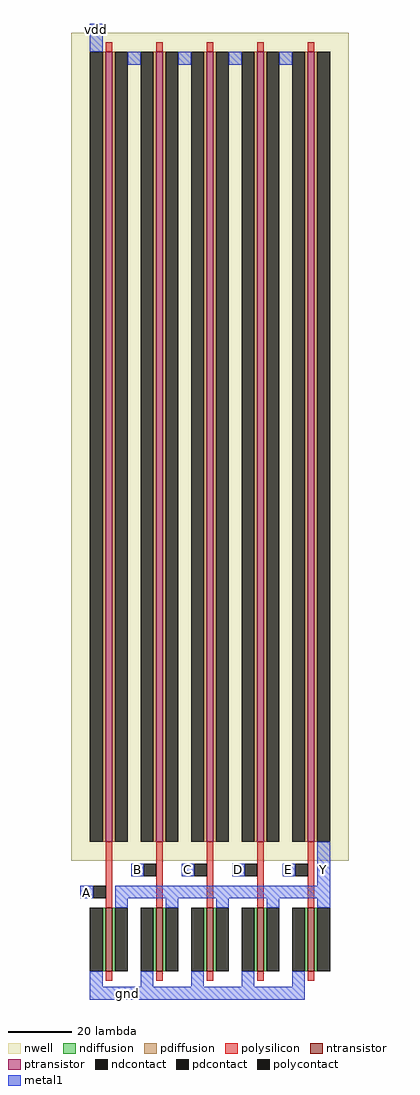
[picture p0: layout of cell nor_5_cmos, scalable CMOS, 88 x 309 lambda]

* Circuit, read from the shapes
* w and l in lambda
.subckt nor_5_cmos A B C D E Y gnd vdd
M1 Y A gnd VSUBS nfet w=20 l=2
M2 Y B gnd VSUBS nfet w=20 l=2
M3 Y C gnd VSUBS nfet w=20 l=2
M4 Y D gnd VSUBS nfet w=20 l=2
M5 Y E gnd VSUBS nfet w=20 l=2
M6 n1 A vdd n2 pfet w=250 l=2
M7 n3 B n1 n2 pfet w=250 l=2
M8 n4 C n3 n2 pfet w=250 l=2
M9 n5 D n4 n2 pfet w=250 l=2
M10 Y E n5 n2 pfet w=250 l=2
.ends

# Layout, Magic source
magic
tech scmos
<< nwell >>
rect -6 -6 82 256
<< ntransistor >>
rect 5 -41 7 -21
rect 21 -41 23 -21
rect 37 -41 39 -21
rect 53 -41 55 -21
rect 69 -41 71 -21
<< ptransistor >>
rect 5 0 7 250
rect 21 0 23 250
rect 37 0 39 250
rect 53 0 55 250
rect 69 0 71 250
<< ndiffusion >>
rect 4 -41 5 -21
rect 7 -41 8 -21
rect 20 -41 21 -21
rect 23 -41 24 -21
rect 36 -41 37 -21
rect 39 -41 40 -21
rect 52 -41 53 -21
rect 55 -41 56 -21
rect 68 -41 69 -21
rect 71 -41 72 -21
<< pdiffusion >>
rect 4 0 5 250
rect 7 0 8 250
rect 20 0 21 250
rect 23 0 24 250
rect 36 0 37 250
rect 39 0 40 250
rect 52 0 53 250
rect 55 0 56 250
rect 68 0 69 250
rect 71 0 72 250
<< ndcontact >>
rect 0 -41 4 -21
rect 8 -41 12 -21
rect 16 -41 20 -21
rect 24 -41 28 -21
rect 32 -41 36 -21
rect 40 -41 44 -21
rect 48 -41 52 -21
rect 56 -41 60 -21
rect 64 -41 68 -21
rect 72 -41 76 -21
<< pdcontact >>
rect 0 0 4 250
rect 8 0 12 250
rect 16 0 20 250
rect 24 0 28 250
rect 32 0 36 250
rect 40 0 44 250
rect 48 0 52 250
rect 56 0 60 250
rect 64 0 68 250
rect 72 0 76 250
<< polysilicon >>
rect 5 250 7 253
rect 21 250 23 253
rect 37 250 39 253
rect 53 250 55 253
rect 69 250 71 253
rect 5 -21 7 0
rect 21 -21 23 0
rect 37 -21 39 0
rect 53 -21 55 0
rect 69 -21 71 0
rect 5 -44 7 -41
rect 21 -44 23 -41
rect 37 -44 39 -41
rect 53 -44 55 -41
rect 69 -44 71 -41
<< polycontact >>
rect 1 -18 5 -14
rect 17 -11 21 -7
rect 33 -11 37 -7
rect 49 -11 53 -7
rect 65 -11 69 -7
<< metal1 >>
rect 0 250 4 259
rect 12 246 16 250
rect 28 246 32 250
rect 44 246 48 250
rect 60 246 64 250
rect 13 -11 17 -7
rect 29 -11 33 -7
rect 45 -11 49 -7
rect 61 -11 65 -7
rect 72 -14 76 0
rect -3 -18 1 -14
rect 8 -18 76 -14
rect 8 -21 12 -18
rect 24 -21 28 -18
rect 40 -21 44 -18
rect 56 -21 60 -18
rect 72 -21 76 -18
rect 0 -46 4 -41
rect 16 -46 20 -41
rect 32 -46 36 -41
rect 48 -46 52 -41
rect 64 -46 68 -41
rect 0 -50 68 -46
<< labels >>
rlabel metal1 61 -11 65 -7 1 E
rlabel metal1 45 -11 49 -7 1 D
rlabel metal1 29 -11 33 -7 1 C
rlabel metal1 13 -11 17 -7 1 B
rlabel metal1 10 -50 14 -46 1 gnd
rlabel metal1 -3 -18 1 -14 1 A
rlabel metal1 72 -11 76 -7 1 Y
rlabel metal1 0 255 4 259 5 vdd
<< end >>
